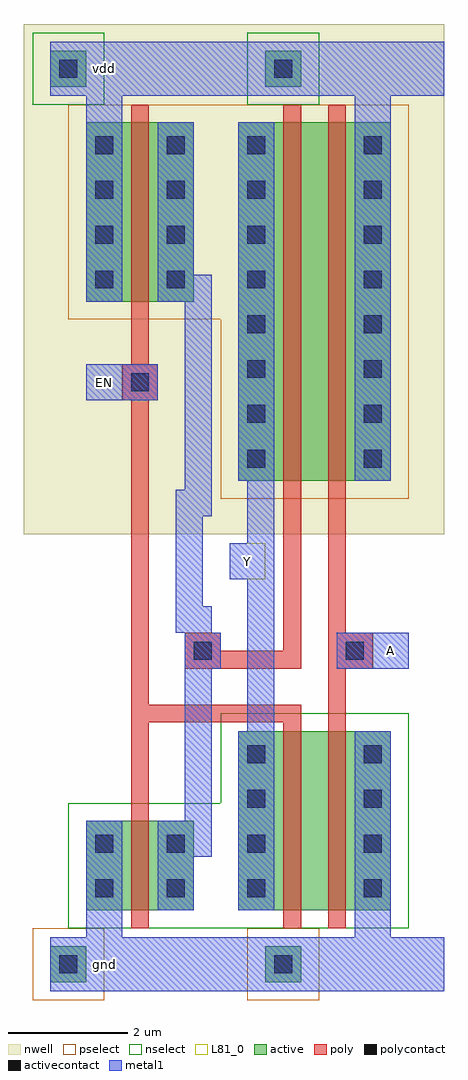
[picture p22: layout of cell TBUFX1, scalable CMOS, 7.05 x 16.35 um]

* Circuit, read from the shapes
.subckt TBUFX1 A EN Y gnd vdd
M1 n1 EN gnd gnd nfet w=1.5u l=0.3u
M2 n2 EN Y gnd nfet w=3u l=0.3u
M3 gnd A n2 gnd nfet w=3u l=0.3u
M4 n1 EN vdd vdd pfet w=3u l=0.3u
M5 n3 n1 Y vdd pfet w=6u l=0.3u
M6 vdd A n3 vdd pfet w=6u l=0.3u
.ends

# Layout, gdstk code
import gdstk
lib = gdstk.Library(unit=1e-6, precision=1e-09)
def R(c, l, rs):  # rectangles x0, y0, x1, y1
    for r in rs: c.add(gdstk.rectangle(r[:2], r[2:], *l))
def A(c, l, x, y, w, h, nx, ny, dx, dy):  # array of equal rectangles
    R(c, l, [(x+i*dx, y+j*dy, x+i*dx+w, y+j*dy+h) for i in range(nx) for j in range(ny)])
nwell = (42, 0)
active = (43, 0)
pselect = (44, 0)
nselect = (45, 0)
poly = (46, 0)
polycontact = (47, 0)
activecontact = (48, 0)
metal1 = (49, 0)
L81_0 = (81, 0)

tbufx1 = lib.new_cell('TBUFX1')
R(tbufx1, nwell, [(-0.75,7.2,6.3,15.75)])
R(tbufx1, active, [(-0.3,-0.3,0.3,0.3), (3.3,-0.3,3.9,0.3), (0.3,0.9,2.1,2.4), (2.85,0.9,5.4,3.9), (2.85,8.1,5.4,14.1), (0.3,11.1,2.1,14.1), (-0.3,14.7,0.3,15.3), (3.3,14.7,3.9,15.3)])
R(tbufx1, pselect, [(-0.6,-0.6,0.6,0.6), (3,-0.6,4.2,0.6), (2.55,7.8,5.7,10.8), (0,10.8,5.7,14.4)])
R(tbufx1, nselect, [(0,0.6,5.7,2.7), (2.55,2.7,5.7,4.2), (-0.6,14.4,0.6,15.6), (3,14.4,4.2,15.6)])
R(tbufx1, poly, [(1.05,0.6,1.35,4.05), (3.6,0.6,3.9,4.05), (4.35,0.6,4.65,4.95), (1.05,4.05,3.9,4.35), (1.05,4.35,1.35,9.45), (1.95,4.95,3.9,5.25), (4.35,4.95,5.1,5.55), (1.95,5.25,2.55,5.55), (3.6,5.25,3.9,14.4), (4.35,5.55,4.65,14.4), (0.9,9.45,1.5,10.05), (1.05,10.05,1.35,14.4)])
R(tbufx1, polycontact, [(2.1,5.1,2.4,5.4), (4.65,5.1,4.95,5.4), (1.05,9.6,1.35,9.9)])
A(tbufx1, activecontact, 3, 1.12, 0.3, 0.3, 1, 4, 0, 0.75)
A(tbufx1, activecontact, 4.95, 1.12, 0.3, 0.3, 1, 4, 0, 0.75)
A(tbufx1, activecontact, 3, 8.32, 0.3, 0.3, 1, 8, 0, 0.75)
A(tbufx1, activecontact, 4.95, 8.32, 0.3, 0.3, 1, 8, 0, 0.75)
A(tbufx1, activecontact, 0.45, 11.32, 0.3, 0.3, 1, 4, 0, 0.75)
A(tbufx1, activecontact, 1.65, 11.32, 0.3, 0.3, 1, 4, 0, 0.75)
R(tbufx1, activecontact, [(-0.15,-0.15,0.15,0.15), (3.45,-0.15,3.75,0.15), (0.45,1.12,0.75,1.42), (1.65,1.12,1.95,1.42), (0.45,1.87,0.75,2.17), (1.65,1.87,1.95,2.17), (-0.15,14.85,0.15,15.15), (3.45,14.85,3.75,15.15)])
R(tbufx1, metal1, [(-0.3,-0.45,6.3,0.45), (0.3,0.45,0.9,2.4), (4.8,0.45,5.4,3.9), (1.5,0.9,2.1,1.8), (2.85,0.9,3.45,3.9), (1.5,1.8,2.4,2.4), (1.95,2.4,2.4,4.95), (3,3.9,3.45,6.45), (1.95,4.95,2.55,5.55), (4.5,4.95,5.7,5.55), (1.8,5.55,2.4,6), (1.8,6,2.25,7.5), (2.7,6.45,3.45,7.05), (3,7.05,3.45,8.1), (1.8,7.5,2.4,7.95), (1.95,7.95,2.4,11.1), (2.85,8.1,3.45,14.1), (4.8,8.1,5.4,14.55), (0.3,9.45,1.5,10.05), (0.3,11.1,0.9,14.55), (1.5,11.1,2.4,11.55), (1.5,11.55,2.1,14.1), (-0.3,14.55,6.3,15.45)])
R(tbufx1, L81_0, [(5.1,4.95,5.7,5.55), (2.7,6.45,3.3,7.05), (0.3,9.45,0.9,10.05)])
tbufx1.add(gdstk.Label('vdd', (0.6,15), layer=109, texttype=0))
tbufx1.add(gdstk.Label('gnd', (0.6,0), layer=109, texttype=0))
tbufx1.add(gdstk.Label('EN', (0.6,9.75), layer=109, texttype=0))
tbufx1.add(gdstk.Label('A', (5.4,5.25), layer=109, texttype=0))
tbufx1.add(gdstk.Label('Y', (3,6.75), layer=109, texttype=0))

lib.write_gds('TBUFX1.gds')
